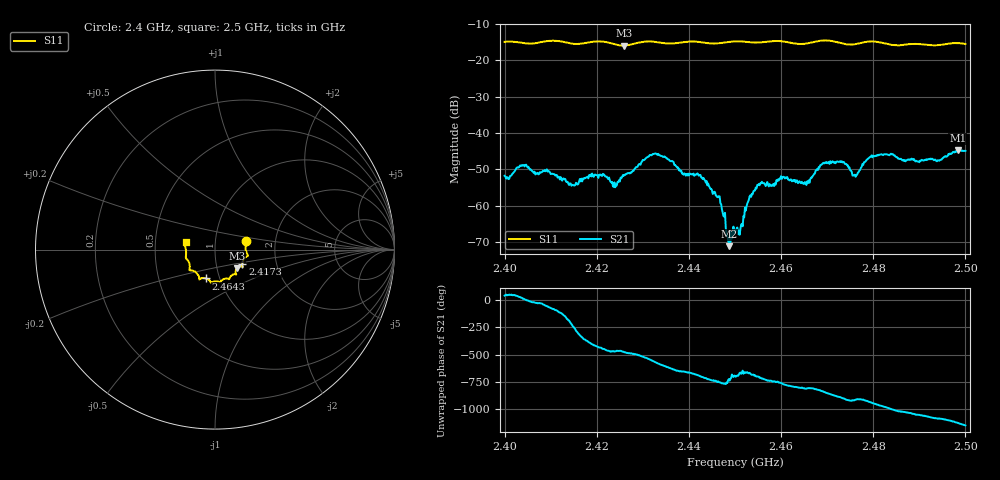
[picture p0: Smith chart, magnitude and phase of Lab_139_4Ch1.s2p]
# Hz S RI R 50
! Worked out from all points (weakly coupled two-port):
!   601 points, 2.4 GHz to 2.5 GHz, reference 50 ohm
!   highest |S21| = -44.71 dB at 2.4983 GHz (marker M1); lowest = -71.1 dB at 2.4487 GHz (marker M2)
!   lowest |S11| = -15.9 dB at 2.4258 GHz (marker M3), VSWR 1.38, Z = 62.3 - j13.3 ohm
!   |S11| at or under -10 dB: start of sweep to end of sweep
!   S12 and S22 are empty: the file has one direction only
!   S11 on the Smith chart (normalised r, x): 2.4 GHz: 1.41, +0.14; 2.4173 GHz: 1.34, -0.23; 2.4643 GHz: 0.86, -0.29; 2.5 GHz: 0.72, +0.06
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2.4e9  0.1736 0.0495  0.00194 0.00171  0 0  0 0
2.404167e9  0.1717 0.023  0.00356 0.000746  0 0  0 0
2.416667e9  0.1532 -0.0746  0.00214 0.001  0 0  0 0
2.417333e9  0.1524 -0.082  0.00242 1.28e-05  0 0  0 0
2.424e9  0.1367 -0.0945  -0.000605 -0.00169  0 0  0 0
2.425833e9  0.1218 -0.1037  -0.00102 -0.00236  0 0  0 0
2.433333e9  0.1128 -0.1368  -0.00389 0.00342  0 0  0 0
2.443667e9  0.0657 -0.1611  0.00207 0.000232  0 0  0 0
2.4465e9  0.044 -0.1667  0.00117 -0.00068  0 0  0 0
2.448667e9  0.0329 -0.1766  0.000277 -1.63e-05  0 0  0 0
2.45e9  0.0292 -0.1809  0.000382 0.000197  0 0  0 0
2.451167e9  0.0259 -0.1812  0.00026 0.000398  0 0  0 0
2.455333e9  -0.000913 -0.1769  0.00189 0.000291  0 0  0 0
2.464333e9  -0.0499 -0.1608  0.000204 -0.00203  0 0  0 0
2.466667e9  -0.0759 -0.1597  0.000112 -0.00242  0 0  0 0
2.472667e9  -0.0897 -0.1504  -0.00392 -0.00094  0 0  0 0
2.476e9  -0.1162 -0.1197  -0.00259 0.000668  0 0  0 0
2.479167e9  -0.1414 -0.1148  -0.00388 0.00249  0 0  0 0
2.483333e9  -0.1404 -0.0898  -5e-05 0.00501  0 0  0 0
2.494167e9  -0.1621 0.000157  0.0042 -0.000281  0 0  0 0
2.498333e9  -0.1701 0.0337  0.00412 -0.0041  0 0  0 0
2.5e9  -0.1632 0.0422  0.00215 -0.00527  0 0  0 0
